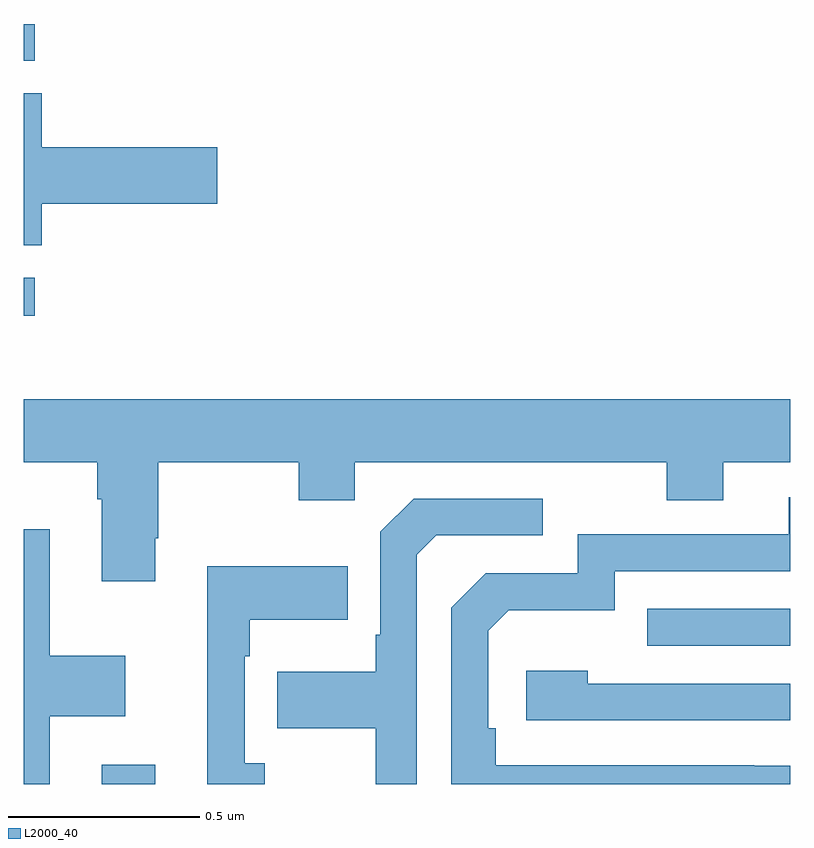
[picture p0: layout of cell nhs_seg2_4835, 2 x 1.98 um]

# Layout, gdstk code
import gdstk
lib = gdstk.Library(unit=1e-6, precision=1e-09)
def R(c, l, rs):  # rectangles x0, y0, x1, y1
    for r in rs: c.add(gdstk.rectangle(r[:2], r[2:], *l))
def P(c, l, *ps):  # polygons
    for p in ps: c.add(gdstk.Polygon(p, *l))
L2000_40 = (2000, 40)

nhs_seg2_4835 = lib.new_cell('nhs_seg2_4835')
R(nhs_seg2_4835, L2000_40, [(171.203,642.8,171.343,642.85), (172.627,643.161,173,643.257), (171,644.023,171.028,644.121), (171,644.688,171.028,644.784)])
P(nhs_seg2_4835, L2000_40, [(171.047,644.315),(171.505,644.315),(171.505,644.462),(171.047,644.462),(171.047,644.603),(171,644.603),(171,644.206),(171.047,644.206)],
  [(171.343,643.441),(171.351,643.441),(171.351,643.64),(171.718,643.64),(171.718,643.541),(171.864,643.541),(171.864,643.64),(172.678,643.64),(172.678,643.541),(172.825,643.541),(172.825,643.64),(173,643.64),(173,643.804),(171,643.804),(171,643.64),(171.191,643.64),(171.191,643.544),(171.203,643.544),(171.203,643.329),(171.343,643.329)],
  [(173,642.848),(172.907,642.848),(172.907,642.849),(172.232,642.849),(172.232,642.946),(172.212,642.946),(172.212,643.2),(172.265,643.253),(172.542,643.253),(172.542,643.356),(173,643.356),(173,643.548),(172.997,643.548),(172.997,643.452),(172.446,643.452),(172.446,643.35),(172.206,643.35),(172.116,643.26),(172.116,642.8),(173,642.8)],
  [(172.026,643.398),(172.077,643.449),(172.354,643.449),(172.354,643.545),(172.017,643.545),(171.93,643.458),(171.93,643.189),(171.918,643.189),(171.918,643.093),(171.661,643.093),(171.661,642.946),(171.918,642.946),(171.918,642.8),(172.026,642.8)],
  [(171.067,642.977),(171.265,642.977),(171.265,643.135),(171.067,643.135),(171.067,643.465),(171,643.465),(171,642.8),(171.067,642.8)],
  [(171.628,642.854),(171.576,642.854),(171.576,643.133),(171.589,643.133),(171.589,643.229),(171.845,643.229),(171.845,643.369),(171.479,643.369),(171.479,642.8),(171.628,642.8)],
  [(173,643.062),(172.472,643.062),(172.472,643.096),(172.311,643.096),(172.311,642.966),(173,642.966)])

lib.write_gds('nhs_seg2_4835.gds')
